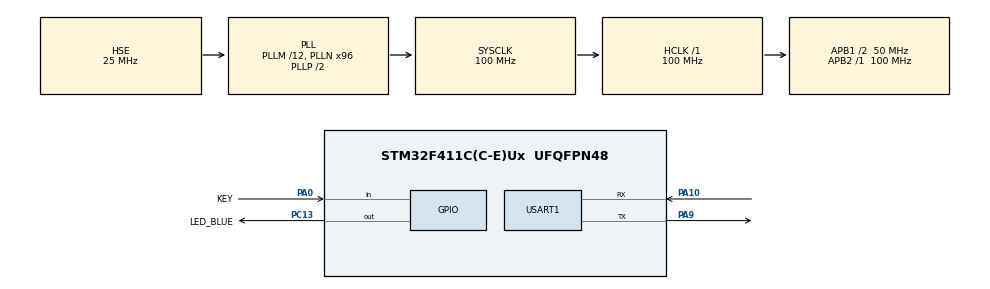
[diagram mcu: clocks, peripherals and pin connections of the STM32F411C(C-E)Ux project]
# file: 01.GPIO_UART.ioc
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Mcu.Family=STM32F4
Mcu.Name=STM32F411C(C-E)Ux
Mcu.Package=UFQFPN48
NVIC.PriorityGroup=NVIC_PRIORITYGROUP_4
PA0-WKUP.GPIO_Label=KEY
PA0-WKUP.GPIO_PuPd=GPIO_PULLUP
PA0-WKUP.Signal=GPIO_Input
PA10.Mode=Asynchronous
PA10.Signal=USART1_RX
PA13.Mode=Serial_Wire
PA13.Signal=SYS_JTMS-SWDIO
PA14.Mode=Serial_Wire
PA14.Signal=SYS_JTCK-SWCLK
PA9.Mode=Asynchronous
PA9.Signal=USART1_TX
PC13-ANTI_TAMP.GPIO_Label=LED_BLUE
PC13-ANTI_TAMP.GPIO_PuPd=GPIO_NOPULL
PC13-ANTI_TAMP.Signal=GPIO_Output
PC14-OSC32_IN.Mode=LSE-External-Oscillator
PC14-OSC32_IN.Signal=RCC_OSC32_IN
PC15-OSC32_OUT.Mode=LSE-External-Oscillator
PC15-OSC32_OUT.Signal=RCC_OSC32_OUT
PH0\ -\ OSC_IN.Mode=HSE-External-Oscillator
PH0\ -\ OSC_IN.Signal=RCC_OSC_IN
PH1\ -\ OSC_OUT.Mode=HSE-External-Oscillator
PH1\ -\ OSC_OUT.Signal=RCC_OSC_OUT
ProjectManager.HeapSize=0x200
ProjectManager.StackSize=0x400
ProjectManager.TargetToolchain=STM32CubeIDE
RCC.48MHZClocksFreq_Value=50000000
RCC.AHBFreq_Value=100000000
RCC.APB1CLKDivider=RCC_HCLK_DIV2
RCC.APB1Freq_Value=50000000
RCC.APB1TimFreq_Value=100000000
RCC.APB2Freq_Value=100000000
RCC.APB2TimFreq_Value=100000000
RCC.CortexFreq_Value=100000000
RCC.HCLKFreq_Value=100000000
RCC.HSE_VALUE=25000000
RCC.HSI_VALUE=16000000
RCC.PLLM=12
RCC.PLLN=96
RCC.PLLSourceVirtual=RCC_PLLSOURCE_HSE
RCC.SYSCLKFreq_VALUE=100000000
RCC.SYSCLKSource=RCC_SYSCLKSOURCE_PLLCLK
RCC.VCOOutputFreq_Value=200000000
USART1.VirtualMode=VM_ASYNC
board=custom

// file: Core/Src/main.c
/* USER CODE BEGIN Header */
/**
  ******************************************************************************
  * @file           : main.c
  * @brief          : Main program body
  ******************************************************************************
  * @attention
  *
  * Copyright (c) 2024 STMicroelectronics.
  * All rights reserved.
  *
  * This software is licensed under terms that can be found in the LICENSE file
  * in the root directory of this software component.
  * If no LICENSE file comes with this software, it is provided AS-IS.
  *
  ******************************************************************************
  */
/* USER CODE END Header */
#include "main.h"
#include "usart.h"
#include "gpio.h"

/* USER CODE BEGIN Includes */
#include "stdio.h"
#include "string.h"

/* USER CODE END Includes */

/* USER CODE BEGIN PV */
int count = 0;
uint32_t tick = 0;
uint16_t printCount = 0;
/* USER CODE END PV */

void SystemClock_Config(void);

/* USER CODE BEGIN 0 */
int _write(int file, char* pData, int len)
{
	HAL_UART_Transmit(&huart1, (uint8_t*)pData, len, 10);

	return len;
}
/* USER CODE END 0 */

int main(void)
{

  /* USER CODE BEGIN 1 */
  SCB->VTOR = FLASH_BASE | 0x4000;
  /* USER CODE END 1 */

  /* MCU Configuration--------------------------------------------------------*/

  /* Reset of all peripherals, Initializes the Flash interface and the Systick. */
  HAL_Init();

  /* Configure the system clock */
  SystemClock_Config();

  /* Initialize all configured peripherals */
  MX_GPIO_Init();
  MX_USART1_UART_Init();

  /* Infinite loop */
  /* USER CODE BEGIN WHILE */
  while (1)
  {
	  uint32_t currentTick = HAL_GetTick();
	  if(currentTick - tick >= 1)
	  {
		  tick = currentTick;

		  if(printCount > 1000)
		  {
			  printf("[%d]\r\n", count);
			  count++;
			  printCount = 0;
		  }
		  else
		  {
			  printCount++;
		  }
	  }

	  if(HAL_GPIO_ReadPin(KEY_GPIO_Port, KEY_Pin)== GPIO_PIN_RESET)
	  {
		  NVIC_SystemReset();
	  }
    __WFI();

    /* USER CODE END WHILE */

  }
}

void SystemClock_Config(void)
{
  RCC_OscInitTypeDef RCC_OscInitStruct = {0};
  RCC_ClkInitTypeDef RCC_ClkInitStruct = {0};

  /** Configure the main internal regulator output voltage
  */
  __HAL_RCC_PWR_CLK_ENABLE();
  __HAL_PWR_VOLTAGESCALING_CONFIG(PWR_REGULATOR_VOLTAGE_SCALE1);

  /** Initializes the RCC Oscillators according to the specified parameters
  * in the RCC_OscInitTypeDef structure.
  */
  RCC_OscInitStruct.OscillatorType = RCC_OSCILLATORTYPE_HSE;
  RCC_OscInitStruct.HSEState = RCC_HSE_ON;
  RCC_OscInitStruct.PLL.PLLState = RCC_PLL_ON;
  RCC_OscInitStruct.PLL.PLLSource = RCC_PLLSOURCE_HSE;
  RCC_OscInitStruct.PLL.PLLM = 12;
  RCC_OscInitStruct.PLL.PLLN = 96;
  RCC_OscInitStruct.PLL.PLLP = RCC_PLLP_DIV2;
  RCC_OscInitStruct.PLL.PLLQ = 4;
  if (HAL_RCC_OscConfig(&RCC_OscInitStruct) != HAL_OK)
  {
    Error_Handler();
  }

  /** Initializes the CPU, AHB and APB buses clocks
  */
  RCC_ClkInitStruct.ClockType = RCC_CLOCKTYPE_HCLK|RCC_CLOCKTYPE_SYSCLK
                              |RCC_CLOCKTYPE_PCLK1|RCC_CLOCKTYPE_PCLK2;
  RCC_ClkInitStruct.SYSCLKSource = RCC_SYSCLKSOURCE_PLLCLK;
  RCC_ClkInitStruct.AHBCLKDivider = RCC_SYSCLK_DIV1;
  RCC_ClkInitStruct.APB1CLKDivider = RCC_HCLK_DIV2;
  RCC_ClkInitStruct.APB2CLKDivider = RCC_HCLK_DIV1;

  if (HAL_RCC_ClockConfig(&RCC_ClkInitStruct, FLASH_LATENCY_3) != HAL_OK)
  {
    Error_Handler();
  }
}

void Error_Handler(void)
{
  __disable_irq();
  while (1)
  {
  }
}
